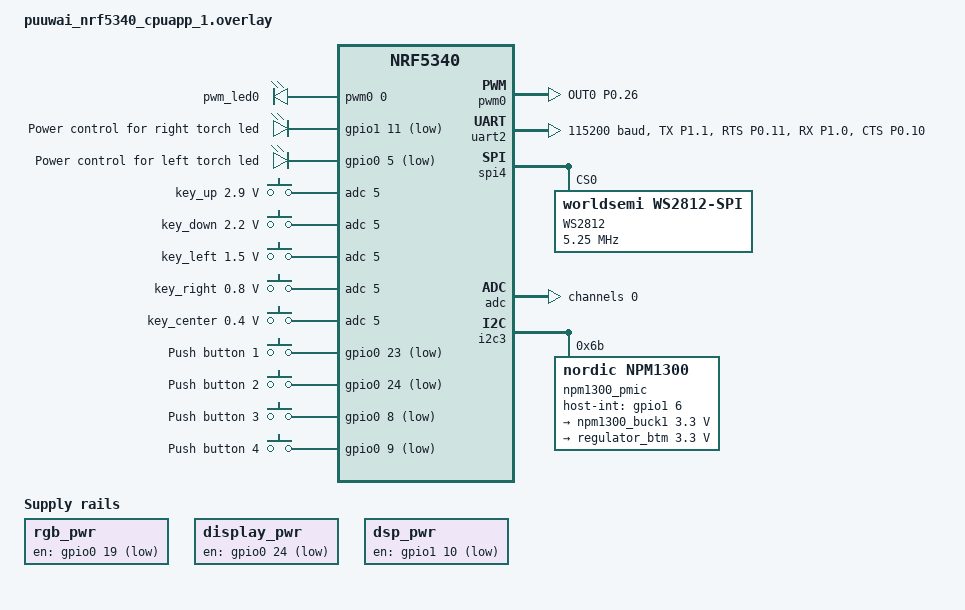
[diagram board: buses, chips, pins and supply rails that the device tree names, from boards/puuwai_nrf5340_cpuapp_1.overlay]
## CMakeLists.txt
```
#-------------------------------------------------------------------------------
# Zephyr Example Application
#
# Copyright (c) 2021 Nordic Semiconductor ASA
# SPDX-License-Identifier: Apache-2.0

cmake_minimum_required(VERSION 3.13.1)
find_package(Zephyr REQUIRED HINTS $ENV{ZEPHYR_BASE})

project(app LANGUAGES C)

target_sources(app PRIVATE src/main.c)

add_subdirectory(src/modules)
add_subdirectory(src/drivers/at_master)
add_subdirectory(src/audio)
add_subdirectory(src/power)
add_subdirectory(src/led)

target_include_directories(app PRIVATE inc)
target_include_directories(app PRIVATE src/modules)
target_include_directories(app PRIVATE src/drivers/at_master)
target_include_directories(app PRIVATE src/audio)
target_include_directories(app PRIVATE src/power)
target_include_directories(app PRIVATE src/led)
```

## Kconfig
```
# Copyright (c) 2021 Nordic Semiconductor ASA
# SPDX-License-Identifier: Apache-2.0
#
# This file is the application Kconfig entry point. All application Kconfig
# options can be defined here or included via other application Kconfig files.
# You can browse these options using the west targets menuconfig (terminal) or
# guiconfig (GUI).

menu "Zephyr"
source "Kconfig.zephyr"
endmenu

module = APP
module-str = APP
source "subsys/logging/Kconfig.template.log_config"

menuconfig STETHY
	 bool "Stethy [EXPERIMENTAL]"
	 select EXPERIMENTAL

if STETHY

#----------------------------------------------------------------------------#
rsource "Kconfig.defaults"

#----------------------------------------------------------------------------#
menu "Logging"

module = MAIN
module-str = main
source "subsys/logging/Kconfig.template.log_config"

module = MODULE_LED
module-str = module-led
source "subsys/logging/Kconfig.template.log_config"

config PRINT_STACK_USAGE_MS
	depends on THREAD_ANALYZER && INIT_STACKS
	int "Print stack usage every x milliseconds"
	default 5000

endmenu # Log levels

#----------------------------------------------------------------------------#

rsource "src/drivers/at_master/Kconfig"
rsource "src/audio/Kconfig"
rsource "src/power/Kconfig"
rsource "src/led/Kconfig"

endif # STETHY
```

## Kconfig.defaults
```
config MAIN_THREAD_PRIORITY
	default 10

config MAIN_STACK_SIZE
	default 1800 if SD_CARD_PLAYBACK
	default 1600

config SYSTEM_WORKQUEUE_STACK_SIZE
	default 1200

# As long as thread names are used, config must be set to "y"
config THREAD_NAME
	default y

config ZBUS
	default y

config ZBUS_RUNTIME_OBSERVERS
	default y

config ZBUS_MSG_SUBSCRIBER
	default y

# Enable SPI interface
config SPI
	default y

config I2C
	default y

config BUTTON_DEBOUNCE_MS
	int "Button debounce time in ms"
	default 50

config NRFX_I2S0
	default y

config PCM_MIX
	default y


#----------------------------------------------------------------------------#
menu "Log levels"

module = MODULE_AUDIO_USB
module-str = module-audio-usb
source "subsys/logging/Kconfig.template.log_config"

module = MODULE_BUTTON_HANDLER
module-str = module-button-handler
source "subsys/logging/Kconfig.template.log_config"

module = MODULE_SYSTEM
module-str = module-system
source "subsys/logging/Kconfig.template.log_config"

endmenu # Log levels

#----------------------------------------------------------------------------#
menu "Thread priorities"

config BUTTON_PUBLISH_THREAD_PRIO
	int "Priority for button publish thread"
	default 5
	help
	  This is a preemptible thread.
	  This thread will publish button events to zbus.

config BUTTON_MSG_SUB_THREAD_PRIO
	int "Thread priority for button subscriber"
	default 5
	help
	  This is a preemptible thread.
	  This thread will subscribe to button events from zbus.

config DEVICE_MSG_SUB_THREAD_PRIO
	int "Thread priority for device subscriber"
	default 5
	help
	  This is a preemptible thread.
	  This thread will subscribe to device events from zbus.

config SYSTEM_THREAD_PRIO
	int "Thread priority for system thread"
	default 3
	help
	  This is a preemptible thread.
	  This thread will handle system events.

endmenu # Thread priorities

#----------------------------------------------------------------------------#
menu "Stack sizes"

config BUTTON_PUBLISH_STACK_SIZE
	int "Stack size for button publish thread"
	default 450

config VOLUME_MSG_SUB_STACK_SIZE
	int "Stack size for volume message subscribe thread"
	default 768

config BUTTON_MSG_SUB_STACK_SIZE
	int "Stack size for button subscriber"
	default 2048

config DEVICE_MSG_SUB_STACK_SIZE
	int "Stack size for device subscriber"
	default 1024

config SYSTEM_THREAD_STACK_SIZE
	int "Stack size for system thread"
	default 1024

endmenu # Stack sizes

#----------------------------------------------------------------------------#
menu "Zbus"

config BUTTON_MSG_SUB_QUEUE_SIZE
	int "Queue size for button subscriber"
	default 4

config CONTENT_CONTROL_MSG_SUB_QUEUE_SIZE
	int "Queue size for content control subscriber"
	default 4

config DEVICE_MSG_SUB_QUEUE_SIZE
	int "Queue size for device subscriber"
	default 4

endmenu # Zbus
```

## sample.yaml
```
# This file is provided so that the application can be compiled using Twister,
# the Zephyr testing tool. In this file, multiple combinations can be specified,
# so that you can easily test all of them locally or in CI.
sample:
  description: Stethy
  name: Stethy18.00
common:
  sysbuild: true
  build_only: true
  integration_platforms:
    - puuwai/nrf5340/cpuapp
    - puuwai/nrf5340/cpunet
    - nrf54l15dk/nrf54l15/cpuapp
tests:
  app.default: {}
  app.debug:
    extra_overlay_confs:
      - debug.conf
```

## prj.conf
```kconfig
# Enable GPIO Keys driver for interrupt-based button handling
CONFIG_INPUT_GPIO_KEYS=y
CONFIG_INPUT=y

# General
CONFIG_STETHY=y
CONFIG_DEBUG=y
CONFIG_DEBUG_INFO=y
CONFIG_ASSERT=y
CONFIG_STACK_USAGE=y
CONFIG_THREAD_RUNTIME_STATS=y
CONFIG_STACK_SENTINEL=y
CONFIG_INIT_STACKS=y

# Power 
CONFIG_NRF_FUEL_GAUGE=y
CONFIG_SENSOR=y
CONFIG_NPM1300_CHARGER=y

# RGB LEDs
CONFIG_LED_STRIP=y
CONFIG_LED_STRIP_LOG_LEVEL_DBG=y

# Uart driver
CONFIG_SERIAL=y
CONFIG_UART_ASYNC_API=y
CONFIG_UART_INTERRUPT_DRIVEN=y

# ADC
CONFIG_ADC=y

# I2C
CONFIG_I2C=y
CONFIG_I2C_NRFX=y

# Logging
CONFIG_LOG=y
CONFIG_LOG_TAG_MAX_LEN=2
CONFIG_LOG_TAG_DEFAULT="--"
CONFIG_LOG_BACKEND_UART=y
CONFIG_LOG_BUFFER_SIZE=4096
CONFIG_LOG_THREAD_ID_PREFIX=y

# Console related defines
CONFIG_CONSOLE=y
CONFIG_RTT_CONSOLE=y
CONFIG_UART_CONSOLE=y

# LED Control 
CONFIG_PWM=y
CONFIG_PWM_LOG_LEVEL_DBG=y
CONFIG_LED=y
CONFIG_LED_PWM=y

# Shell related defines
CONFIG_SHELL=y
CONFIG_KERNEL_SHELL=y
CONFIG_USE_SEGGER_RTT=y

## Disable logs on RTT
CONFIG_SHELL_RTT_INIT_LOG_LEVEL_NONE=y
CONFIG_SHELL_BACKEND_RTT=y
CONFIG_SHELL_BACKEND_SERIAL=n
CONFIG_SHELL_VT100_COMMANDS=y
CONFIG_SHELL_VT100_COLORS=y
CONFIG_SHELL_STACK_SIZE=4096
CONFIG_SHELL_CMD_BUFF_SIZE=128

## Reduce shell memory usage
CONFIG_SHELL_WILDCARD=n
CONFIG_SHELL_HELP_ON_WRONG_ARGUMENT_COUNT=n
CONFIG_SHELL_STATS=n
CONFIG_SHELL_CMDS=n
CONFIG_SHELL_HISTORY=y
```

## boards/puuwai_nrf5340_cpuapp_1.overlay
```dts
#include <zephyr/dt-bindings/led/led.h>

/ {
	chosen {
		nordic,nrf-spim = &spi4;
		nordic,nrf-uarte = &uart1;
		nordic,nrf-uart = &uart2;
		nordic,nrf-pwm = &pwm0;
	};

	/* Define the PWM LED properly */
	pwmleds {
		compatible = "pwm-leds";
		pwm_led0: pwm_led_0 {
			pwms = <&pwm0 0 PWM_MSEC(20) PWM_POLARITY_NORMAL>;
		};
	};

	torch_led_switch {
		compatible = "gpio-leds";
		r_led: rled {
			gpios = <&gpio1 11 GPIO_ACTIVE_LOW>;
			label = "Power control for right torch led";
		};
		l_led: lled {
			gpios = <&gpio0 5 GPIO_ACTIVE_LOW>;
			label = "Power control for left torch led";
		};
	};

	rgb_pwr: rgb-pwr-ctrl {
        compatible = "regulator-fixed";
        regulator-name = "rgb-pwr-ctrl";
        enable-gpios = <&gpio0 19 GPIO_ACTIVE_LOW>;
    };

	display_pwr: display-pwr-ctrl {
        compatible = "regulator-fixed";
        regulator-name = "display-pwr-ctrl";
        enable-gpios = <&gpio0 24 GPIO_ACTIVE_LOW>;
    };

    dsp_pwr: dsp-pwr-ctrl {
        compatible = "regulator-fixed";
        regulator-name = "dsp-pwr-ctrl";
        enable-gpios = <&gpio1 10 GPIO_ACTIVE_LOW>;
    };

	navigation: navigation {
		compatible = "adc-keys";
		io-channels = <&adc 5>;
		keyup-threshold-mv = <3000>;

		key_up {
			press-thresholds-mv = <2900>, <3100>; /* DPAD_VOLTAGE_UP +/- tolerance */
			zephyr,code = <INPUT_KEY_UP>;
		};

		key_down {
			press-thresholds-mv = <2200>, <2400>; /* DPAD_VOLTAGE_DOWN +/- tolerance */
			zephyr,code = <INPUT_KEY_DOWN>;
		};

		key_left {
			press-thresholds-mv = <1500>, <1700>; /* DPAD_VOLTAGE_LEFT +/- tolerance */
			zephyr,code = <INPUT_KEY_LEFT>;
		};

		key_right {
			press-thresholds-mv = <800>, <1000>; /* DPAD_VOLTAGE_RIGHT +/- tolerance */
			zephyr,code = <INPUT_KEY_RIGHT>;
		};

		key_center {
			press-thresholds-mv = <400>, <600>; /* DPAD_VOLTAGE_CENTER +/- tolerance */
			zephyr,code = <INPUT_KEY_ENTER>;
		};
	};

	buttons: buttons {
		compatible = "gpio-keys";

		button0: button_0 {
			gpios = <&gpio0 23 (GPIO_PULL_UP | GPIO_ACTIVE_LOW)>;
			label = "Push button 1";
			zephyr,code = <INPUT_KEY_KP0>;
		};

		button1: button_1 {
			gpios = <&gpio0 24 (GPIO_PULL_UP | GPIO_ACTIVE_LOW)>;
			label = "Push button 2";
			zephyr,code = <INPUT_KEY_KP1>;
		};

		button2: button_2 {
			gpios = <&gpio0 8 (GPIO_PULL_UP | GPIO_ACTIVE_LOW)>;
			label = "Push button 3";
			zephyr,code = <INPUT_KEY_2>;
		};

		button3: button_3 {
			gpios = <&gpio0 9 (GPIO_PULL_UP | GPIO_ACTIVE_LOW)>;
			label = "Push button 4";
			zephyr,code = <INPUT_KEY_3>;
		};
	};

	longpress: longpress {
		input = <&buttons>;
		compatible = "zephyr,input-longpress";
		input-codes = <INPUT_KEY_KP0>, <INPUT_KEY_KP1>;
		short-codes = <INPUT_KEY_0>, <INPUT_KEY_1>;
		long-codes = <INPUT_KEY_Y>, <INPUT_KEY_X>;
		long-delay-ms = <1000>;
	};
};

&pinctrl {
	uart2_default: uart2_default {
		group1 {
			psels = <NRF_PSEL(UART_TX, 1, 1)>,
					<NRF_PSEL(UART_RTS, 0, 11)>;
		};

		group2 {
			psels = <NRF_PSEL(UART_RX, 1, 0)>,
					<NRF_PSEL(UART_CTS, 0, 10)>;
			bias-pull-up;
		};
	};
	uart2_sleep: uart2_sleep {
		group1 {
			psels = <NRF_PSEL(UART_TX, 1, 1)>,
			        <NRF_PSEL(UART_RX, 1, 0)>,
			        <NRF_PSEL(UART_RTS, 0, 11)>,
			        <NRF_PSEL(UART_CTS, 0, 10)>;
			low-power-enable;
		};
	};

	pwm0_default_custom: pwm0_default_custom {
		group1 {
			psels = <NRF_PSEL(PWM_OUT0, 0, 26)>;
			nordic,invert;
		};
	};
	pwm0_sleep: pwm0_sleep {
		group1 {
			psels = <NRF_PSEL(PWM_OUT0, 0, 26)>;
			low-power-enable;
		};
	};
};

&pwm0 {
	pinctrl-0 = <&pwm0_default_custom>;
	pinctrl-1 = <&pwm0_sleep>;
	pinctrl-names = "default", "sleep";
};

&uart2 {
	status = "okay";
	current-speed = <115200>;
	pinctrl-0 = <&uart2_default>;
	pinctrl-1 = <&uart2_sleep>;
	pinctrl-names = "default", "sleep";
};

&spi4 {
	compatible = "nordic,nrf-spim";

	pinctrl-0 = <&spi4_default>;
	pinctrl-1 = <&spi4_sleep>;
	pinctrl-names = "default", "sleep";
	status = "okay";

	led_strip: ws2812@0 {
		compatible = "worldsemi,ws2812-spi";
		label = "WS2812";

		/* SPI */
		reg = <0>; /* ignored, but necessary for SPI bindings */
		spi-max-frequency = <5250000>;

		/* WS2812 */
		chain-length = <10>; /* LED strip length */
		spi-one-frame = <0x70>;
		spi-zero-frame = <0x40>;
		color-mapping = <LED_COLOR_ID_GREEN
		LED_COLOR_ID_RED
		LED_COLOR_ID_BLUE>;
	};
};

&adc {
	status = "okay";
	#address-cells = <1>;
	#size-cells = <0>;

	channel@5 {
		reg = <0>;
		zephyr,gain = "ADC_GAIN_1";
		zephyr,reference = "ADC_REF_VDD_1";
		zephyr,acquisition-time = <ADC_ACQ_TIME(ADC_ACQ_TIME_MICROSECONDS, 40)>;
		zephyr,input-positive = <NRF_SAADC_AIN5>;
		zephyr,resolution = <12>;
		zephyr,oversampling = <8>;
	};
};

&i2c3 {
	npm1300_pmic: pmic@6b {
		compatible = "nordic,npm1300";
		reg = <0x6b>;
		host-int-gpios = <&gpio1 6 GPIO_ACTIVE_HIGH>;
		pmic-int-pin	= <4>;

		npm1300_gpio: gpio-controller {
			compatible = "nordic,npm1300-gpio";
			gpio-controller;
			#gpio-cells = <2>;
			ngpios = <5>;
		};

		npm1300_regulators: regulators {
			compatible = "nordic,npm1300-regulator";

			npm1300_buck1: BUCK1 {
				regulator-min-microvolt = <3300000>;
				regulator-max-microvolt = <3300000>;
				regulator-boot-on;
				regulator-always-on;
			};

			regulator_btm: BUCK2 {
				regulator-min-microvolt = <3300000>;
				regulator-max-microvolt = <3300000>;
				regulator-init-microvolt = <3300000>;
			};

			regulator_3v3: LDO1 {
				status = "disabled";
			};

			// LDO2 is not used
			npm1300_ldo2: LDO2 {
				status = "disabled";
			};
		};

		npm1300_charger: charger {
			compatible = "nordic,npm1300-charger";
			term-microvolt = <4400000>;
			term-warm-microvolt = <4000000>;
			current-microamp = <200000>; // 0.2C CC (constant current) charge to 4.4V,
			term-current-percent = <10>; // then 4.4V CV(constant voltage) charge till charge current decline to ≤ 0.02C
			dischg-limit-microamp = <1000000>;
			vbus-limit-microamp = <500000>;
			thermistor-ohms = <10000>; // Not used
			thermistor-beta = <3380>; // Not used
			charging-enable;
		};

		npm1300_buttons: buttons {
			compatible = "gpio-keys";
			status = "disabled";
		};
	};
};


/ {
	aliases {
		led-strip = &led_strip;
		uart1 = &uart1;
		uart2 = &uart2;
		right-led = &r_led;
		left-led = &l_led;
		sw-right = &button0;
		sw-left = &button1;
		nav-up = &button2;
		nav-down = &button3;
		torch-pwm = &torch_pwm;
	};
};
```

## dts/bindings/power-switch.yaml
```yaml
description: GPIO pin to control power to torch leds

compatible: "power-switch"

child-binding:
  description: The GPIOs controlling the pins for torch leds
  properties:
    gpios:
     type: phandle-array
     required: true
    label:
      type: string
      description: |
        Human readable string describing the LED. It can be used by an
        application to identify this LED or to retrieve its number/index
        (i.e. child node number) on the parent device.
```

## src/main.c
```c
/*
 * Copyright (c) 2016 Intel Corporation
 *
 * SPDX-License-Identifier: Apache-2.0
 */

#include <stdio.h>
#include <zephyr/kernel.h>
#include <zephyr/drivers/gpio.h>
#include <zephyr/zbus/zbus.h>
#include "button_handler.h"
#include "main.h"
#include "button_assignments.h"
#include "zbus_common.h"
#include "macros_common.h"



LOG_MODULE_REGISTER(main, CONFIG_MAIN_LOG_LEVEL);

ZBUS_SUBSCRIBER_DEFINE(button_evt_sub, CONFIG_BUTTON_MSG_SUB_QUEUE_SIZE);

ZBUS_CHAN_DECLARE(button_chan);

ZBUS_CHAN_DEFINE(device_chan, struct device_msg, NULL, NULL, ZBUS_OBSERVERS_EMPTY,
		 ZBUS_MSG_INIT(0));

ZBUS_CHAN_DEFINE(audio_evt_chan, struct audio_msg, NULL, NULL, ZBUS_OBSERVERS_EMPTY,
		 ZBUS_MSG_INIT(0));


static struct k_thread button_msg_sub_thread_data;
static k_tid_t button_msg_sub_thread_id;

K_THREAD_STACK_DEFINE(button_msg_sub_thread_stack, CONFIG_BUTTON_MSG_SUB_STACK_SIZE);

/*
 * A build error on this line means your board is unsupported.
 * See the sample documentation for information on how to fix this.
 */


static void button_msg_sub_thread(void)
{
	int ret;
	const struct zbus_channel *chan;

	while (1) {
		ret = zbus_sub_wait(&button_evt_sub, &chan, K_FOREVER);
		ERR_CHK(ret);

		struct button_msg msg;

		ret = zbus_chan_read(chan, &msg, ZBUS_READ_TIMEOUT_MS);
		ERR_CHK(ret);

		LOG_DBG("Got btn evt from queue - id = %d, action = %d", msg.button_pin,
			msg.button_action);

		if (msg.button_action != BUTTON_PRESS) {
			LOG_WRN("Unhandled button action");
			return;
		}

		switch (msg.button_pin) {
		case BUTTON_0:
			debug_led_toggle(0);
			break;

		case BUTTON_1:
			debug_led_toggle(1);
			break;

		case BUTTON_2:
			debug_led_toggle(2);
			break;

		case BUTTON_3:
			debug_led_toggle(3);
			break;
		default:
			LOG_WRN("Unexpected/unhandled button id: %d", msg.button_pin);
		}

		STACK_USAGE_PRINT("button_msg_thread", &button_msg_sub_thread_data);
	}
}

static int zbus_subscribers_create(void)
{
	int ret;

	button_msg_sub_thread_id = k_thread_create(
		&button_msg_sub_thread_data, button_msg_sub_thread_stack,
		CONFIG_BUTTON_MSG_SUB_STACK_SIZE, (k_thread_entry_t)button_msg_sub_thread, NULL,
		NULL, NULL, K_PRIO_PREEMPT(CONFIG_BUTTON_MSG_SUB_THREAD_PRIO), 0, K_NO_WAIT);
	ret = k_thread_name_set(button_msg_sub_thread_id, "BUTTON_MSG_SUB");
	if (ret) {
		LOG_ERR("Failed to create button_msg thread");
		return ret;
	}

	return 0;
}

static int zbus_link_producers_observers(void)
{
	int ret;

	if (!IS_ENABLED(CONFIG_ZBUS)) {
		return -ENOTSUP;
	}

	ret = zbus_chan_add_obs(&button_chan, &button_evt_sub, ZBUS_ADD_OBS_TIMEOUT_MS);
	if (ret) {
		LOG_ERR("Failed to add button sub");
		return ret;
	}

	return 0;
}

int main(void)
{
	int ret;

	LOG_INF("Hello World\r\n");
	
	ret = button_handler_init();
	if (ret < 0) {
		return 0;
	}

	ret = zbus_subscribers_create();
	ERR_CHK_MSG(ret, "Failed to create zbus subscriber threads");

	ret = zbus_link_producers_observers();
	ERR_CHK_MSG(ret, "Failed to link zbus producers and observers");

	ret = system_init();
	if (ret < 0) {
		return 0;
	}

	while (1) {
		k_msleep(SLEEP_TIME_MS);
	}
	return 0;
}
```

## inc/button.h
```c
#ifndef BUTTON_H
#define BUTTON_H

/* #include "main.h"
#include <zephyr/input/input.h>

#if DT_NODE_EXISTS(DT_ALIAS(sw0))
#define BUTTON_0 DT_GPIO_PIN(DT_ALIAS(sw0), gpios)
#else
#define BUTTON_0 BUTTON_NOT_ASSIGNED
#endif

#if DT_NODE_EXISTS(DT_ALIAS(sw1))
#define BUTTON_1 DT_GPIO_PIN(DT_ALIAS(sw1), gpios)
#else
#define BUTTON_1 BUTTON_NOT_ASSIGNED
#endif

#if DT_NODE_EXISTS(DT_ALIAS(sw2))
#define BUTTON_2 DT_GPIO_PIN(DT_ALIAS(sw2), gpios)
#else
#define BUTTON_2 BUTTON_NOT_ASSIGNED
#endif

#if DT_NODE_EXISTS(DT_ALIAS(sw3))
#define BUTTON_3 DT_GPIO_PIN(DT_ALIAS(sw3), gpios)
#else
#define BUTTON_3 BUTTON_NOT_ASSIGNED
#endif

int buttons_init(void);
void button_input_callback(struct input_event *evt); */

#endif
```

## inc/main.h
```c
#ifndef __MAIN_H
#define __MAIN_H

#include <stdio.h>
#include <zephyr/kernel.h>
#include <zephyr/device.h>
#include <zephyr/devicetree.h>
#include <zephyr/logging/log.h>

#define SLEEP_TIME_MS 1000

#endif
```

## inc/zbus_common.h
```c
#ifndef _ZBUS_COMMON_H_
#define _ZBUS_COMMON_H_

#define ZBUS_READ_TIMEOUT_MS	K_MSEC(100)
#define ZBUS_ADD_OBS_TIMEOUT_MS K_MSEC(200)

#define POWER_ON 1
#define POWER_OFF 0	

/***** Messages for zbus ******/

enum button_action {
	BUTTON_PRESS = 1,
};

struct button_msg {
	uint32_t button_pin;
	enum button_action button_action;
};

struct device_msg {
    int event;
	int device;
    int param;
};

struct power_msg {
	int event;
	int device;
	int param;
};

struct audio_msg {
	int type;
	int param;
};

enum device_evt_type
{
    DEVICE_POWER,
    DEVICE_VOLUME,
    DEVICE_EVENT_BT_STATE,
    DEVICE_BT_STATE,
    DEVICE_AUDIO_MODE,
    DEVICE_AUDIO_SOURCE,
    DEVICE_AUDIO_OUTPUT,
    DEVICE_AUDIO_FILTER,
    DEVICE_AUDIO_MUTE,
};

enum device_id
{
    BTM_DEV_ID,
    DSP_DEV_ID,
	SYS_DEV_ID,
	RGB_DEV_ID,
	L_LED_DEV_ID,
	R_LED_DEV_ID,
};	

enum audio_evt_type
{
    AUDIO_START,
    AUDIO_STOP,
    AUDIO_PAUSE,
    AUDIO_RESUME,
    AUDIO_FILTER_CHANGE,
    AUDIO_SOURCE_CHANGE,
    AUDIO_OUTPUT_CHANGE,
    AUDIO_VOLUME_CHANGE,
    AUDIO_DSP_MSG,
    AUDIO_BTM_MSG,
};

enum le_audio_evt_type {
	LE_AUDIO_EVT_CONFIG_RECEIVED = 1,
	LE_AUDIO_EVT_PRES_DELAY_SET,
	LE_AUDIO_EVT_STREAMING,
	LE_AUDIO_EVT_NOT_STREAMING,
	LE_AUDIO_EVT_STREAM_SENT,
	LE_AUDIO_EVT_SYNC_LOST,
	LE_AUDIO_EVT_NO_VALID_CFG,
	LE_AUDIO_EVT_COORD_SET_DISCOVERED,
};

#endif /* _ZBUS_COMMON_H_ */
```
